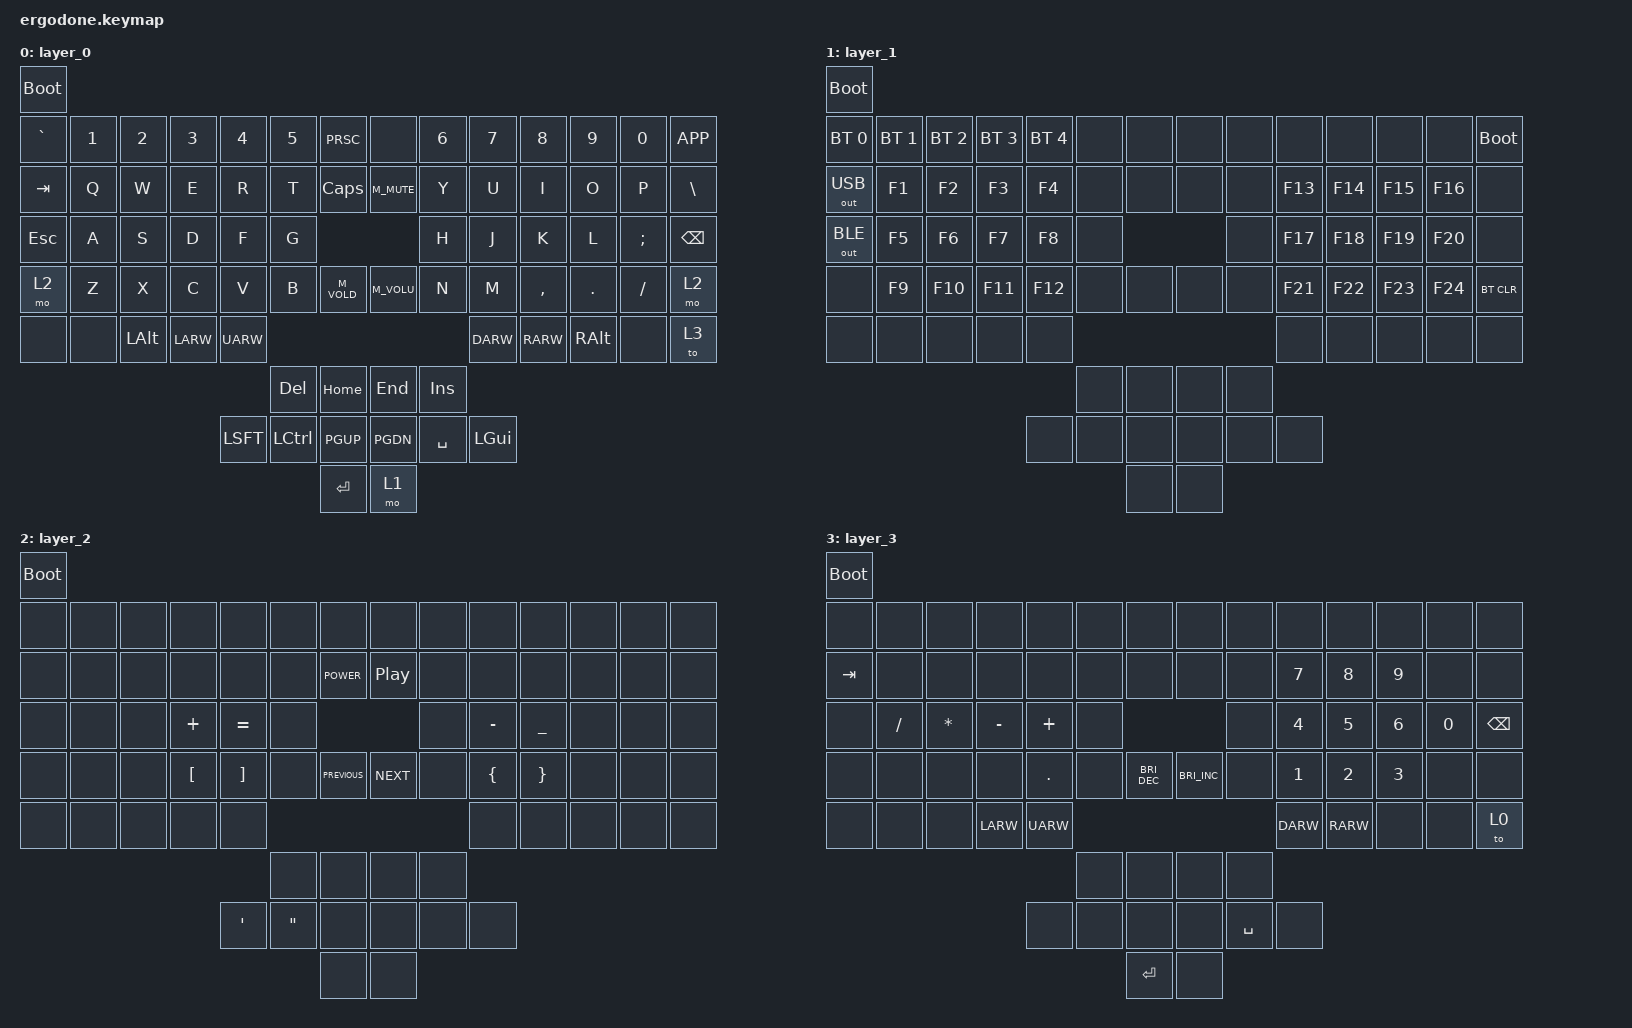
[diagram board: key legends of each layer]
#include <behaviors.dtsi>
#include <dt-bindings/zmk/bt.h>
#include <dt-bindings/zmk/keys.h>
#include <dt-bindings/zmk/outputs.h>

/ {
	keymap {
		compatible = "zmk,keymap";

		// This is the default test layer meant for testing that every key on
		// your keyboard works. Once you have completed this basic test, you can
		// delete this first section and layer_0 will become your default layer.
		// layer_test {
		//	bindings = <
		//		&bootloader
		//		&kp NUM_0 &kp NUM_1 &kp NUM_2 &kp NUM_3 &kp NUM_4 &kp NUM_5 &kp NUM_6 &kp NUM_0 &kp NUM_1 &kp NUM_2 &kp NUM_3 &kp NUM_4 &kp NUM_5 &kp NUM_6
		//		&kp NUM_0 &kp NUM_1 &kp NUM_2 &kp NUM_3 &kp NUM_4 &kp NUM_5 &kp NUM_6 &kp NUM_0 &kp NUM_1 &kp NUM_2 &kp NUM_3 &kp NUM_4 &kp NUM_5 &kp NUM_6
		//		&kp NUM_0 &kp NUM_1 &kp NUM_2 &kp NUM_3 &kp NUM_4 &kp NUM_5                     &kp NUM_1 &kp NUM_2 &kp NUM_3 &kp NUM_4 &kp NUM_5 &kp NUM_6
		//		&kp NUM_0 &kp NUM_1 &kp NUM_2 &kp NUM_3 &kp NUM_4 &kp NUM_5 &kp NUM_6 &kp NUM_0 &kp NUM_1 &kp NUM_2 &kp NUM_3 &kp NUM_4 &kp NUM_5 &kp NUM_6
		//		&kp NUM_0 &kp NUM_1 &kp NUM_2 &kp NUM_3 &kp NUM_4                                         &kp NUM_2 &kp NUM_3 &kp NUM_4 &kp NUM_5 &kp NUM_6
		//		                                                  &kp NUM_0 &kp NUM_1 &kp NUM_0 &kp NUM_1
		//		                                        &kp NUM_3 &kp NUM_4 &kp NUM_2 &kp NUM_2 &kp NUM_3 &kp NUM_4
		//		                                                            &kp NUM_5 &kp NUM_5
		//	>;
		// };

		layer_0 {
			bindings = <
				&bootloader
				&kp GRAV &kp NUMBER_1 &kp NUMBER_2 &kp NUMBER_3 &kp NUMBER_4 &kp NUMBER_5 &kp PRSC   &none      &kp NUMBER_6 &kp NUMBER_7 &kp NUMBER_8 &kp NUMBER_9 &kp NUMBER_0  &kp K_APP
				&kp TAB  &kp Q        &kp W        &kp E        &kp R        &kp T        &kp CLCK   &kp M_MUTE &kp Y        &kp U        &kp I        &kp O        &kp P         &kp BSLH
				&kp ESC  &kp A        &kp S        &kp D        &kp F        &kp G                              &kp H        &kp J        &kp K        &kp L        &kp SEMICOLON &kp BKSP
				&mo 2    &kp Z        &kp X        &kp C        &kp V        &kp B        &kp M_VOLD &kp M_VOLU &kp N        &kp M        &kp CMMA     &kp DOT      &kp FSLH      &mo 2
				&none    &none        &kp LALT     &kp LARW     &kp UARW                                                     &kp DARW     &kp RARW     &kp RALT     &none         &to 3
				                                                             &kp DEL      &kp HOME   &kp END    &kp INS
				                                                &kp LSFT     &kp LCTL     &kp PGUP   &kp PGDN   &kp SPC      &kp LGUI
				                                                                          &kp RET    &mo 1
			>;
		};

		layer_1 {
			bindings = <
				&bootloader
				&bt BT_SEL 0 &bt BT_SEL 1 &bt BT_SEL 2 &bt BT_SEL 3 &bt BT_SEL 4 &none &none &none &none &none   &none   &none   &none   &bootloader
				&out OUT_USB &kp F1       &kp F2       &kp F3       &kp F4       &none &none &none &none &kp F13 &kp F14 &kp F15 &kp F16 &none
				&out OUT_BLE &kp F5       &kp F6       &kp F7       &kp F8       &none             &none &kp F17 &kp F18 &kp F19 &kp F20 &none
				&none        &kp F9       &kp F10      &kp F11      &kp F12      &none &none &none &none &kp F21 &kp F22 &kp F23 &kp F24 &bt BT_CLR
				&none        &none        &none        &none        &none                                &none   &none   &none   &none   &none
				                                                                 &none &none &none &none
				                                                    &none        &none &none &none &none &none
				                                                                       &none &none
			>;
		};

		layer_2 {
			bindings = <
				&bootloader
				&none &none &none &none    &none            &none             &none          &none            &none &none          &none           &none &none &none
				&none &none &none &none    &none            &none             &kp C_POWER    &kp C_PLAY_PAUSE &none &none          &none           &none &none &none
				&none &none &none &kp PLUS &kp EQUAL        &none                                             &none &kp MINUS      &kp UNDERSCORE  &none &none &none
				&none &none &none &kp LBKT &kp RBKT         &none             &kp C_PREVIOUS &kp C_NEXT       &none &kp LEFT_BRACE &kp RIGHT_BRACE &none &none &none
				&none &none &none &none    &none                                                                    &none          &none           &none &none &none
				                                            &none             &none          &none            &none
				                           &kp SINGLE_QUOTE &kp DOUBLE_QUOTES &none          &none            &none &none
				                                                              &none          &none
			>;
		};

		layer_3 {
			bindings = <
				&bootloader
				&none   &none     &none        &none     &none    &none &none                &none                &none   &none        &none        &none        &none        &none
				&kp TAB &none     &none        &none     &none    &none &none                &none                &none   &kp NUMBER_7 &kp NUMBER_8 &kp NUMBER_9 &none        &none
				&none   &kp SLASH &kp ASTERISK &kp MINUS &kp PLUS &none                                           &none   &kp NUMBER_4 &kp NUMBER_5 &kp NUMBER_6 &kp NUMBER_0 &kp BKSP
				&none   &none     &none        &none     &kp DOT  &none &kp C_BRIGHTNESS_DEC &kp C_BRIGHTNESS_INC &none   &kp NUMBER_1 &kp NUMBER_2 &kp NUMBER_3 &none        &none
				&none   &none     &none        &kp LARW  &kp UARW                                                         &kp DARW     &kp RARW     &none        &none        &to 0
				                                                  &none &none                &none                &none
				                                         &none    &none &none                &none                &kp SPC &none
				                                                        &kp RET              &none
			>;
		};
	};
};
